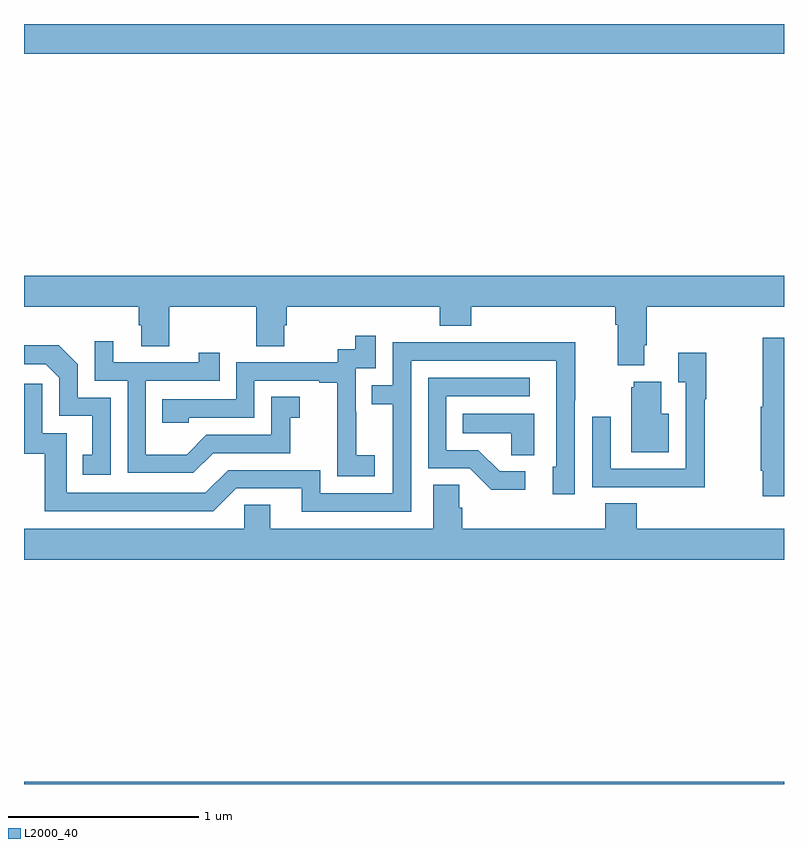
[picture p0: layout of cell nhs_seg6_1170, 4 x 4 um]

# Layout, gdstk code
import gdstk
lib = gdstk.Library(unit=1e-6, precision=1e-09)
def R(c, l, rs):  # rectangles x0, y0, x1, y1
    for r in rs: c.add(gdstk.rectangle(r[:2], r[2:], *l))
def P(c, l, *ps):  # polygons
    for p in ps: c.add(gdstk.Polygon(p, *l))
L2000_40 = (2000, 40)

nhs_seg6_1170 = lib.new_cell('nhs_seg6_1170')
R(nhs_seg6_1170, L2000_40, [(183,935.5,187,935.512), (183,939.344,187,939.5)])
P(nhs_seg6_1170, L2000_40, [(186.265,937.81),(186.278,937.81),(186.278,938.012),(187,938.012),(187,938.176),(183,938.176),(183,938.012),(183.605,938.012),(183.605,937.914),(183.617,937.914),(183.617,937.804),(183.765,937.804),(183.765,938.012),(184.222,938.012),(184.222,937.804),(184.369,937.804),(184.369,937.914),(184.382,937.914),(184.382,938.012),(185.189,938.012),(185.189,937.913),(185.354,937.913),(185.354,938.012),(186.113,938.012),(186.113,937.916),(186.125,937.916),(186.125,937.703),(186.265,937.703)],
  [(184.846,937.231),(184.748,937.231),(184.748,937.46),(184.746,937.46),(184.746,937.689),(184.851,937.689),(184.851,937.858),(184.743,937.858),(184.743,937.788),(184.65,937.788),(184.65,937.719),(184.116,937.719),(184.116,937.524),(183.727,937.524),(183.727,937.401),(183.867,937.401),(183.867,937.428),(184.212,937.428),(184.212,937.623),(184.553,937.623),(184.553,937.611),(184.649,937.611),(184.649,937.327),(184.648,937.327),(184.648,937.121),(184.846,937.121)],
  [(187,937.849),(186.889,937.849),(186.889,937.485),(186.878,937.485),(186.878,937.149),(186.889,937.149),(186.889,937.014),(187,937.014)],
  [(183.997,937.242),(184.401,937.242),(184.401,937.427),(184.45,937.427),(184.45,937.537),(184.302,937.537),(184.302,937.338),(183.96,937.338),(183.856,937.234),(183.642,937.234),(183.642,937.623),(184.031,937.623),(184.031,937.771),(183.92,937.771),(183.92,937.719),(183.469,937.719),(183.469,937.831),(183.372,937.831),(183.372,937.623),(183.546,937.623),(183.546,937.137),(183.892,937.137)],
  [(185.037,937.728),(185.802,937.728),(185.802,937.17),(185.783,937.17),(185.783,937.026),(185.898,937.026),(185.898,937.519),(185.901,937.519),(185.901,937.826),(185.437,937.826),(185.437,937.824),(184.941,937.824),(184.941,937.599),(184.831,937.599),(184.831,937.498),(184.941,937.498),(184.941,937.029),(184.56,937.029),(184.56,937.152),(184.074,937.152),(183.954,937.032),(183.225,937.032),(183.225,937.347),(183.096,937.347),(183.096,937.606),(183,937.606),(183,937.239),(183.109,937.239),(183.109,936.936),(183.996,936.936),(184.116,937.056),(184.463,937.056),(184.463,936.933),(185.037,936.933)],
  [(183.456,937.533),(183.282,937.533),(183.282,937.71),(183.184,937.808),(183,937.808),(183,937.71),(183.114,937.71),(183.186,937.638),(183.186,937.437),(183.359,937.437),(183.359,937.233),(183.31,937.233),(183.31,937.128),(183.456,937.128)],
  [(186.584,937.526),(186.592,937.526),(186.592,937.771),(186.443,937.771),(186.443,937.615),(186.483,937.615),(186.483,937.158),(186.087,937.158),(186.087,937.432),(185.991,937.432),(185.991,937.062),(186.307,937.062),(186.307,937.061),(186.584,937.061)],
  [(185.638,937.146),(185.503,937.146),(185.392,937.257),(185.223,937.257),(185.223,937.542),(185.662,937.542),(185.662,937.638),(185.127,937.638),(185.127,937.161),(185.346,937.161),(185.459,937.049),(185.638,937.049)],
  [(186.394,937.45),(186.355,937.45),(186.355,937.618),(186.209,937.618),(186.209,937.587),(186.197,937.587),(186.197,937.247),(186.394,937.247)],
  [(185.686,937.45),(185.308,937.45),(185.308,937.346),(185.565,937.346),(185.565,937.231),(185.686,937.231)],
  [(187,936.844),(186.224,936.844),(186.224,936.977),(186.059,936.977),(186.059,936.844),(185.306,936.844),(185.306,936.953),(185.292,936.953),(185.292,937.076),(185.153,937.076),(185.153,936.844),(184.297,936.844),(184.297,936.971),(184.158,936.971),(184.158,936.844),(183,936.844),(183,936.68),(187,936.68)])

lib.write_gds('nhs_seg6_1170.gds')
